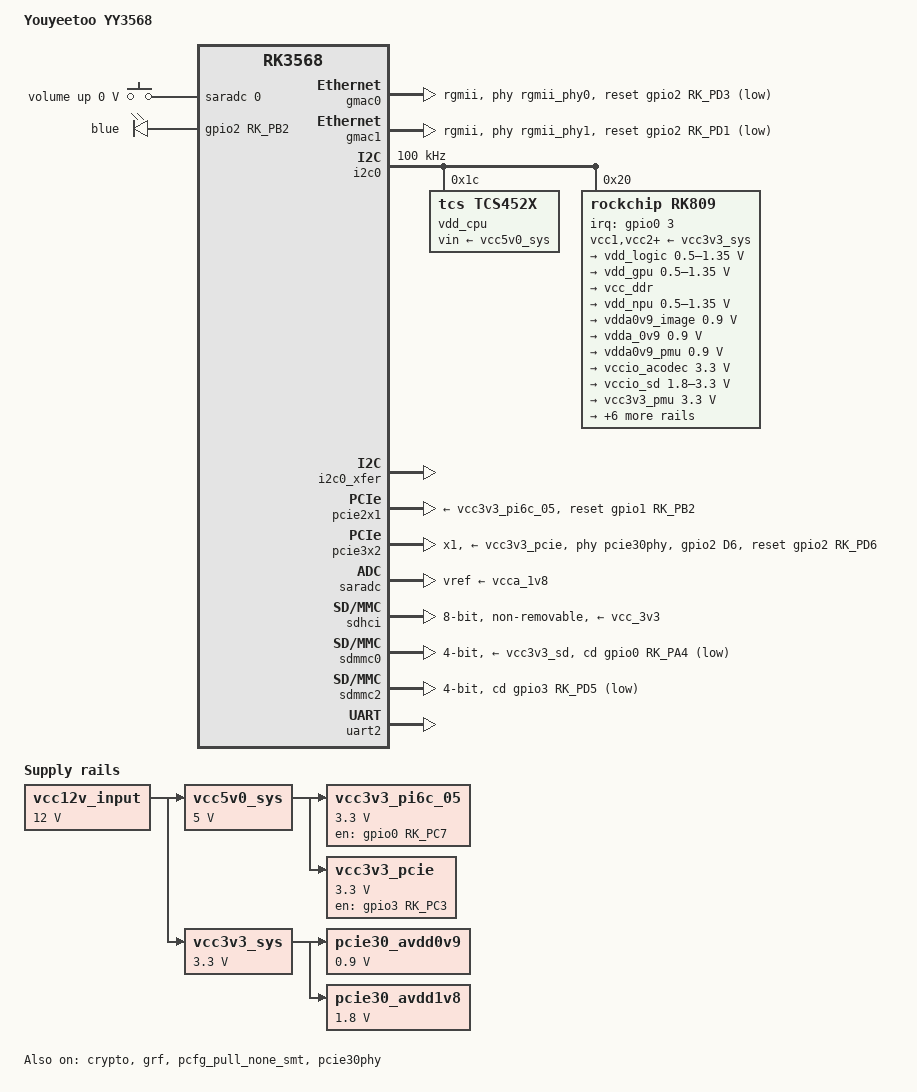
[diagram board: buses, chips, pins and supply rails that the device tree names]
/*
 * SPDX-License-Identifier:     GPL-2.0+
 * Copyright (c) 2020 Rockchip Electronics Co., Ltd.
 * Copyright (c) 2024 Radxa Limited
 */
/dts-v1/;
#include <dt-bindings/gpio/gpio.h>
#include <dt-bindings/input/input.h>
#include <dt-bindings/pinctrl/rockchip.h>
#include "rk3568.dtsi"
#include "rk3568-u-boot.dtsi"
/ {
	model = "Youyeetoo YY3568";
	compatible = "youyeetoo,yy3568", "rockchip,rk3568";
	aliases {
		ethernet0 = &gmac0;
		ethernet1 = &gmac1;
		mmc0 = &sdhci;
		mmc1 = &sdmmc0;
		mmc2 = &sdmmc2;
	};
	vcc12v_input: vcc12v-input {
		u-boot,dm-pre-reloc;
		compatible = "regulator-fixed";
		regulator-name = "vcc12v_input";
		regulator-always-on;
		regulator-boot-on;
		regulator-min-microvolt = <12000000>;
		regulator-max-microvolt = <12000000>;
	};
	vcc5v0_sys: vcc5v0-sys {
		u-boot,dm-pre-reloc;
		compatible = "regulator-fixed";
		regulator-name = "vcc5v0_sys";
		regulator-always-on;
		regulator-boot-on;
		regulator-min-microvolt = <5000000>;
		regulator-max-microvolt = <5000000>;
		vin-supply = <&vcc12v_input>;
	};
	vcc3v3_sys: vcc3v3-sys {
		u-boot,dm-pre-reloc;
		compatible = "regulator-fixed";
		regulator-name = "vcc3v3_sys";
		regulator-always-on;
		regulator-boot-on;
		regulator-min-microvolt = <3300000>;
		regulator-max-microvolt = <3300000>;
		vin-supply = <&vcc12v_input>;
	};
	vcc3v3_pi6c_05: vcc3v3-pi6c-05 {
		u-boot,dm-pre-reloc;
		compatible = "regulator-fixed";
		enable-active-high;
		gpio = <&gpio0 RK_PC7 GPIO_ACTIVE_HIGH>;
		pinctrl-names = "default";
		pinctrl-0 = <&pcie_enable_h>;
		regulator-name = "vcc3v3_pi6c_05";
		regulator-always-on;
		regulator-boot-on;
		regulator-min-microvolt = <3300000>;
		regulator-max-microvolt = <3300000>;
		vin-supply = <&vcc5v0_sys>;
	};
	vcc3v3_pcie: vcc3v3-pcie {
		u-boot,dm-pre-reloc;
		compatible = "regulator-fixed";
		regulator-name = "vcc3v3_pcie";
		regulator-min-microvolt = <3300000>;
		regulator-max-microvolt = <3300000>;
		enable-active-high;
		gpio = <&gpio3 RK_PC3 GPIO_ACTIVE_HIGH>;
		pinctrl-names = "default";
		pinctrl-0 = <&pcie30_pwr>;
		startup-delay-us = <5000>;
		vin-supply = <&vcc5v0_sys>;
	};
	pcie30_avdd0v9: pcie30-avdd0v9 {
		u-boot,dm-pre-reloc;
		compatible = "regulator-fixed";
		regulator-name = "pcie30_avdd0v9";
		regulator-always-on;
		regulator-boot-on;
		regulator-min-microvolt = <900000>;
		regulator-max-microvolt = <900000>;
		vin-supply = <&vcc3v3_sys>;
	};
	pcie30_avdd1v8: pcie30-avdd1v8 {
		u-boot,dm-pre-reloc;
		compatible = "regulator-fixed";
		regulator-name = "pcie30_avdd1v8";
		regulator-always-on;
		regulator-boot-on;
		regulator-min-microvolt = <1800000>;
		regulator-max-microvolt = <1800000>;
		vin-supply = <&vcc3v3_sys>;
	};
	adc-keys {
		compatible = "adc-keys";
		io-channels = <&saradc 0>;
		io-channel-names = "buttons";
		keyup-threshold-microvolt = <1800000>;
		u-boot,dm-spl;
		status = "okay";
		volumeup-key {
			u-boot,dm-spl;
			linux,code = <KEY_VOLUMEUP>;
			label = "volume up";
			press-threshold-microvolt = <9>;
		};
	};
	leds {
		u-boot,dm-pre-reloc;
		compatible = "gpio-leds";
		status = "okay";
		blue-led {
			u-boot,dm-pre-reloc;
			label = "blue";
			gpios = <&gpio2 RK_PB2 GPIO_ACTIVE_HIGH>;
		};
	};
};
&crypto {
	status = "okay";
};
&gmac0 {
	u-boot,dm-pre-reloc;
	phy-mode = "rgmii";
	clock_in_out = "output";
	snps,reset-gpio = <&gpio2 RK_PD3 GPIO_ACTIVE_LOW>;
	snps,reset-active-low;
	snps,reset-delays-us = <0 20000 100000>;
	assigned-clocks = <&cru SCLK_GMAC0_RX_TX>, <&cru SCLK_GMAC0>;
	assigned-clock-parents = <&cru SCLK_GMAC0_RGMII_SPEED>;
	assigned-clock-rates = <0>, <125000000>;
	pinctrl-names = "default";
	pinctrl-0 = <&gmac0_miim
		     &gmac0_tx_bus2
		     &gmac0_rx_bus2
		     &gmac0_rgmii_clk
		     &gmac0_rgmii_bus>;
	phy-handle = <&rgmii_phy0>;
	status = "okay";
};
&gmac1 {
	u-boot,dm-pre-reloc;
	phy-mode = "rgmii";
	clock_in_out = "output";
	snps,reset-gpio = <&gpio2 RK_PD1 GPIO_ACTIVE_LOW>;
	snps,reset-active-low;
	/* Reset time is 20ms, 100ms for rtl8211f */
	snps,reset-delays-us = <0 20000 100000>;
	assigned-clocks = <&cru SCLK_GMAC1_RX_TX>, <&cru SCLK_GMAC1>;
	assigned-clock-parents = <&cru SCLK_GMAC1_RGMII_SPEED>;
	assigned-clock-rates = <0>, <125000000>;
	pinctrl-names = "default";
	pinctrl-0 = <&gmac1m1_miim
		     &gmac1m1_tx_bus2
		     &gmac1m1_rx_bus2
		     &gmac1m1_rgmii_clk
		     &gmac1m1_rgmii_bus>;
	tx_delay = <0x44>;
	rx_delay = <0x26>;
	phy-handle = <&rgmii_phy1>;
	status = "okay";
};
&grf {
	u-boot,dm-pre-reloc;
	status = "okay";
};
&gpio0 {
	u-boot,dm-pre-reloc;
};
&gpio1 {
	u-boot,dm-pre-reloc;
};
&gpio2 {
	u-boot,dm-pre-reloc;
};
&gpio3 {
	u-boot,dm-pre-reloc;
};
&gpio4 {
	u-boot,dm-pre-reloc;
};
&i2c0 {
	status = "okay";
	u-boot,dm-pre-reloc;
	clock-frequency = <100000>;
	vdd_cpu: tcs4525@1c {
		u-boot,dm-pre-reloc;
		compatible = "tcs,tcs452x";
		reg = <0x1c>;
		vin-supply = <&vcc5v0_sys>;
		regulator-compatible = "fan53555-reg";
		regulator-name = "vdd_cpu";
		regulator-min-microvolt = <712500>;
		regulator-max-microvolt = <1390000>;
		regulator-init-microvolt = <900000>;
		regulator-ramp-delay = <2300>;
		fcs,suspend-voltage-selector = <1>;
		regulator-boot-on;
		regulator-always-on;
		regulator-state-mem {
			u-boot,dm-pre-reloc;
			regulator-off-in-suspend;
		};
	};
	rk809: pmic@20 {
		u-boot,dm-pre-reloc;
		status = "okay";
		compatible = "rockchip,rk809";
		reg = <0x20>;
		interrupt-parent = <&gpio0>;
		interrupts = <3 IRQ_TYPE_LEVEL_LOW>;
		pinctrl-names = "default", "pmic-sleep",
				"pmic-power-off", "pmic-reset";
		pinctrl-0 = <&pmic_int>;
		pinctrl-1 = <&soc_slppin_slp>, <&rk817_slppin_slp>;
		pinctrl-2 = <&soc_slppin_gpio>, <&rk817_slppin_pwrdn>;
		pinctrl-3 = <&soc_slppin_gpio>, <&rk817_slppin_rst>;
		rockchip,system-power-controller;
		wakeup-source;
		#clock-cells = <1>;
		clock-output-names = "rk808-clkout1", "rk808-clkout2";
		/* 1: rst regs (default in codes), 0: rst the pmic */
		pmic-reset-func = <0>;
		/* not save the PMIC_POWER_EN register in uboot */
		not-save-power-en = <1>;
		vcc1-supply = <&vcc3v3_sys>;
		vcc2-supply = <&vcc3v3_sys>;
		vcc3-supply = <&vcc3v3_sys>;
		vcc4-supply = <&vcc3v3_sys>;
		vcc5-supply = <&vcc3v3_sys>;
		vcc6-supply = <&vcc3v3_sys>;
		vcc7-supply = <&vcc3v3_sys>;
		vcc8-supply = <&vcc3v3_sys>;
		vcc9-supply = <&vcc3v3_sys>;
		pwrkey {
			status = "okay";
			u-boot,dm-pre-reloc;
		};
		pinctrl_rk8xx: pinctrl_rk8xx {
			u-boot,dm-pre-reloc;
			gpio-controller;
			#gpio-cells = <2>;
			rk817_slppin_null: rk817_slppin_null {
				pins = "gpio_slp";
				function = "pin_fun0";
				u-boot,dm-pre-reloc;
			};
			rk817_slppin_slp: rk817_slppin_slp {
				pins = "gpio_slp";
				function = "pin_fun1";
				u-boot,dm-pre-reloc;
			};
			rk817_slppin_pwrdn: rk817_slppin_pwrdn {
				pins = "gpio_slp";
				function = "pin_fun2";
				u-boot,dm-pre-reloc;
			};
			rk817_slppin_rst: rk817_slppin_rst {
				pins = "gpio_slp";
				function = "pin_fun3";
				u-boot,dm-pre-reloc;
			};
		};
		regulators {
			u-boot,dm-pre-reloc;
			vdd_logic: DCDC_REG1 {
				u-boot,dm-pre-reloc;
				regulator-always-on;
				regulator-boot-on;
				regulator-min-microvolt = <500000>;
				regulator-max-microvolt = <1350000>;
				regulator-init-microvolt = <900000>;
				regulator-ramp-delay = <6001>;
				regulator-initial-mode = <0x2>;
				regulator-name = "vdd_logic";
				regulator-state-mem {
					u-boot,dm-pre-reloc;
					regulator-on-in-suspend;
				};
			};
			vdd_gpu: DCDC_REG2 {
				u-boot,dm-pre-reloc;
				regulator-always-on;
				regulator-boot-on;
				regulator-min-microvolt = <500000>;
				regulator-max-microvolt = <1350000>;
				regulator-init-microvolt = <900000>;
				regulator-ramp-delay = <6001>;
				regulator-initial-mode = <0x2>;
				regulator-name = "vdd_gpu";
				regulator-state-mem {
					u-boot,dm-pre-reloc;
					regulator-on-in-suspend;
				};
			};
			vcc_ddr: DCDC_REG3 {
				u-boot,dm-pre-reloc;
				regulator-always-on;
				regulator-boot-on;
				regulator-initial-mode = <0x2>;
				regulator-name = "vcc_ddr";
				regulator-state-mem {
					u-boot,dm-pre-reloc;
					regulator-on-in-suspend;
				};
			};
			vdd_npu: DCDC_REG4 {
				u-boot,dm-pre-reloc;
				regulator-always-on;
				regulator-boot-on;
				regulator-min-microvolt = <500000>;
				regulator-max-microvolt = <1350000>;
				regulator-init-microvolt = <900000>;
				regulator-ramp-delay = <6001>;
				regulator-initial-mode = <0x2>;
				regulator-name = "vdd_npu";
				regulator-state-mem {
					u-boot,dm-pre-reloc;
					regulator-on-in-suspend;
				};
			};
			vdda0v9_image: LDO_REG1 {
				u-boot,dm-pre-reloc;
				regulator-boot-on;
				regulator-always-on;
				regulator-min-microvolt = <900000>;
				regulator-max-microvolt = <900000>;
				regulator-name = "vdda0v9_image";
				regulator-state-mem {
					u-boot,dm-pre-reloc;
					regulator-off-in-suspend;
				};
			};
			vdda_0v9: LDO_REG2 {
				u-boot,dm-pre-reloc;
				regulator-always-on;
				regulator-boot-on;
				regulator-min-microvolt = <900000>;
				regulator-max-microvolt = <900000>;
				regulator-name = "vdda_0v9";
				regulator-state-mem {
					u-boot,dm-pre-reloc;
					regulator-off-in-suspend;
				};
			};
			vdda0v9_pmu: LDO_REG3 {
				u-boot,dm-pre-reloc;
				regulator-always-on;
				regulator-boot-on;
				regulator-min-microvolt = <900000>;
				regulator-max-microvolt = <900000>;
				regulator-name = "vdda0v9_pmu";
				regulator-state-mem {
					u-boot,dm-pre-reloc;
					regulator-on-in-suspend;
					regulator-suspend-microvolt = <900000>;
				};
			};
			vccio_acodec: LDO_REG4 {
				u-boot,dm-pre-reloc;
				regulator-always-on;
				regulator-boot-on;
				regulator-min-microvolt = <3300000>;
				regulator-max-microvolt = <3300000>;
				regulator-name = "vccio_acodec";
				regulator-state-mem {
					u-boot,dm-pre-reloc;
					regulator-off-in-suspend;
				};
			};
			vccio_sd: LDO_REG5 {
				u-boot,dm-pre-reloc;
				regulator-always-on;
				regulator-boot-on;
				regulator-min-microvolt = <1800000>;
				regulator-max-microvolt = <3300000>;
				regulator-name = "vccio_sd";
				regulator-state-mem {
					u-boot,dm-pre-reloc;
					regulator-off-in-suspend;
				};
			};
			vcc3v3_pmu: LDO_REG6 {
				u-boot,dm-pre-reloc;
				regulator-always-on;
				regulator-boot-on;
				regulator-min-microvolt = <3300000>;
				regulator-max-microvolt = <3300000>;
				regulator-name = "vcc3v3_pmu";
				regulator-state-mem {
					u-boot,dm-pre-reloc;
					regulator-on-in-suspend;
					regulator-suspend-microvolt = <3300000>;
				};
			};
			vcca_1v8: LDO_REG7 {
				u-boot,dm-pre-reloc;
				regulator-always-on;
				regulator-boot-on;
				regulator-min-microvolt = <1800000>;
				regulator-max-microvolt = <1800000>;
				regulator-name = "vcca_1v8";
				regulator-state-mem {
					u-boot,dm-pre-reloc;
					regulator-off-in-suspend;
				};
			};
			vcca1v8_pmu: LDO_REG8 {
				u-boot,dm-pre-reloc;
				regulator-always-on;
				regulator-boot-on;
				regulator-min-microvolt = <1800000>;
				regulator-max-microvolt = <1800000>;
				regulator-name = "vcca1v8_pmu";
				regulator-state-mem {
					u-boot,dm-pre-reloc;
					regulator-on-in-suspend;
					regulator-suspend-microvolt = <1800000>;
				};
			};
			vcca1v8_image: LDO_REG9 {
				u-boot,dm-pre-reloc;
				regulator-always-on;
				regulator-boot-on;
				regulator-min-microvolt = <1800000>;
				regulator-max-microvolt = <1800000>;
				regulator-name = "vcca1v8_image";
				regulator-state-mem {
					u-boot,dm-pre-reloc;
					regulator-off-in-suspend;
				};
			};
			vcc_1v8: DCDC_REG5 {
				u-boot,dm-pre-reloc;
				regulator-always-on;
				regulator-boot-on;
				regulator-min-microvolt = <1800000>;
				regulator-max-microvolt = <1800000>;
				regulator-name = "vcc_1v8";
				regulator-state-mem {
					u-boot,dm-pre-reloc;
					regulator-off-in-suspend;
				};
			};
			vcc_3v3: SWITCH_REG1 {
				u-boot,dm-pre-reloc;
				regulator-always-on;
				regulator-boot-on;
				regulator-name = "vcc_3v3";
				regulator-state-mem {
					u-boot,dm-pre-reloc;
					regulator-off-in-suspend;
				};
			};
			vcc3v3_sd: SWITCH_REG2 {
				u-boot,dm-pre-reloc;
				regulator-always-on;
				regulator-boot-on;
				regulator-name = "vcc3v3_sd";
				regulator-state-mem {
					u-boot,dm-pre-reloc;
					regulator-off-in-suspend;
				};
			};
		};
	};
};
&i2c0_xfer {
	u-boot,dm-pre-reloc;
	status = "okay";
};
&rgmii_phy0 {
	compatible = "ethernet-phy-id001c.c916",
		     "ethernet-phy-ieee802.3-c22";
	reset-assert-us = <20000>;
	reset-deassert-us = <100000>;
	reset-gpios = <&gpio2 RK_PD3 GPIO_ACTIVE_LOW>;
};

&rgmii_phy1 {
	compatible = "ethernet-phy-id001c.c916",
		     "ethernet-phy-ieee802.3-c22";
	reset-assert-us = <20000>;
	reset-deassert-us = <100000>;
	reset-gpios = <&gpio2 RK_PD1 GPIO_ACTIVE_LOW>;
};
&pcfg_pull_none_smt {
	u-boot,dm-pre-reloc;
	status = "okay";
};
&pcie2x1 {
	u-boot,dm-pre-reloc;
	reset-gpios = <&gpio1 RK_PB2 GPIO_ACTIVE_HIGH>;
	vpcie3v3-supply = <&vcc3v3_pi6c_05>;
	status = "okay";
};
&pcie30_phy_grf {
	u-boot,dm-pre-reloc;
};
&pcie30phy {
	u-boot,dm-pre-reloc;
	data-lanes = <1 2>;
	status = "okay";
};
&pcie3x2 {
	u-boot,dm-pre-reloc;
	num-lanes = <1>;
	pinctrl-names = "default";
	pinctrl-0 = <&pcie30x2_reset_h>;
	reset-gpios = <&gpio2 RK_PD6 GPIO_ACTIVE_HIGH>;
	vpcie3v3-supply = <&vcc3v3_pcie>;
	phys = <&pcie30phy>;
	status = "okay";
};
&pinctrl {
	u-boot,dm-spl;
	pcie {
		u-boot,dm-pre-reloc;
		pcie30x2_reset_h: pcie30x2-reset-h {
			u-boot,dm-pre-reloc;
			rockchip,pins = <2 RK_PD6 RK_FUNC_GPIO &pcfg_pull_none>;
		};
		pcie_enable_h: pcie-enable-h {
			u-boot,dm-pre-reloc;
			rockchip,pins = <0 RK_PC7 RK_FUNC_GPIO &pcfg_pull_none>;
		};
		pcie30_pwr: pcie30-pwr {
			u-boot,dm-pre-reloc;
			rockchip,pins = <3 RK_PC3 RK_FUNC_GPIO &pcfg_pull_none>;
		};
	};
	pmic {
		u-boot,dm-pre-reloc;
		pmic_int: pmic_int {
			u-boot,dm-pre-reloc;
			rockchip,pins =
				<0 RK_PA3 RK_FUNC_GPIO &pcfg_pull_up>;
		};
		soc_slppin_gpio: soc_slppin_gpio {
			u-boot,dm-pre-reloc;
			rockchip,pins =
				<0 RK_PA2 RK_FUNC_GPIO &pcfg_output_low_pull_down>;
		};
		soc_slppin_slp: soc_slppin_slp {
			u-boot,dm-pre-reloc;
			rockchip,pins =
				<0 RK_PA2 RK_FUNC_1 &pcfg_pull_up>;
		};
		soc_slppin_rst: soc_slppin_rst {
			u-boot,dm-pre-reloc;
			rockchip,pins =
				<0 RK_PA2 RK_FUNC_2 &pcfg_pull_none>;
		};
	};
};
&pmu_io_domains {
	u-boot,dm-pre-reloc;
	status = "okay";
	pmuio1-supply = <&vcc3v3_pmu>;
	pmuio2-supply = <&vcc3v3_pmu>;
	vccio1-supply = <&vccio_acodec>;
	vccio2-supply = <&vcc_1v8>;
	vccio3-supply = <&vccio_sd>;
	vccio4-supply = <&vcc_1v8>;
	vccio5-supply = <&vcc_3v3>;
	vccio6-supply = <&vcc_1v8>;
	vccio7-supply = <&vcc_3v3>;
};
&pmucru {
	u-boot,dm-pre-reloc;
	status = "okay";
};
&pmugrf {
	u-boot,dm-pre-reloc;
	status = "okay";
};
&saradc {
	vref-supply = <&vcca_1v8>;
	status = "okay";
};
&sdhci {
	bus-width = <8>;
	max-frequency = <200000000>;
	non-removable;
	pinctrl-names = "default";
	pinctrl-0 = <&emmc_bus8 &emmc_clk &emmc_cmd &emmc_datastrobe>;
	vmmc-supply = <&vcc_3v3>;
	vqmmc-supply = <&vcc_1v8>;
	status = "okay";
};
&sdmmc0 {
	bus-width = <4>;
	cap-sd-highspeed;
	cd-gpios = <&gpio0 RK_PA4 GPIO_ACTIVE_LOW>;
	disable-wp;
	pinctrl-names = "default";
	pinctrl-0 = <&sdmmc0_bus4 &sdmmc0_clk &sdmmc0_cmd>;
	sd-uhs-sdr104;
	vmmc-supply = <&vcc3v3_sd>;
	vqmmc-supply = <&vccio_sd>;
	status = "okay";
};
&sdmmc2 {
	bus-width = <4>;
	cap-sd-highspeed;
	cd-gpios = <&gpio3 RK_PD5 GPIO_ACTIVE_LOW>;
	disable-wp;
	pinctrl-names = "default";
	pinctrl-0 = <&sdmmc2m0_bus4 &sdmmc2m0_clk &sdmmc2m0_cmd>;
	sd-uhs-sdr104;
	status = "okay";
};
&uart2 {
	status = "okay";
};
